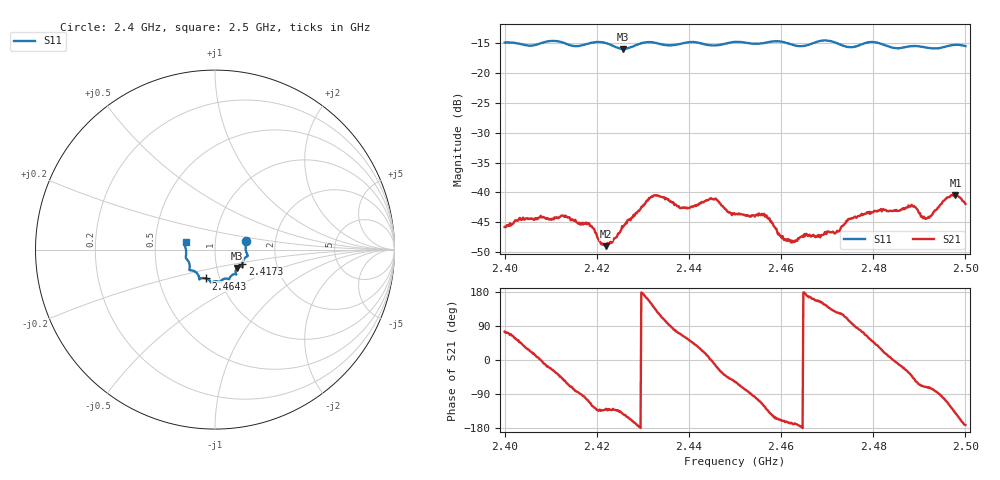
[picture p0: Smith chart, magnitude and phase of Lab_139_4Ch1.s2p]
# Hz S RI R 50
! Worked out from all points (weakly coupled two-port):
!   601 points, 2.4 GHz to 2.5 GHz, reference 50 ohm
!   highest |S21| = -40.44 dB at 2.4978 GHz (marker M1); lowest = -49.0 dB at 2.422 GHz (marker M2)
!   lowest |S11| = -15.9 dB at 2.4257 GHz (marker M3), VSWR 1.38, Z = 62.4 - j13.1 ohm
!   |S11| at or under -10 dB: start of sweep to end of sweep
!   S12 and S22 are empty: the file has one direction only
!   S11 on the Smith chart (normalised r, x): 2.4 GHz: 1.41, +0.14; 2.4173 GHz: 1.34, -0.23; 2.4643 GHz: 0.86, -0.28; 2.5 GHz: 0.72, +0.06
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2.4e9  0.1735 0.049  0.00136 0.00495  0 0  0 0
2.412667e9  0.1762 -0.039  0.00413 -0.00489  0 0  0 0
2.416667e9  0.1532 -0.0746  -8.59e-05 -0.00553  0 0  0 0
2.417333e9  0.1524 -0.0821  -0.000689 -0.00542  0 0  0 0
2.422e9  0.1516 -0.095  -0.00222 -0.00276  0 0  0 0
2.425667e9  0.1227 -0.1024  -0.00402 -0.00315  0 0  0 0
2.431333e9  0.1189 -0.138  -0.00824 0.00357  0 0  0 0
2.433333e9  0.1131 -0.1365  -0.00527 0.00782  0 0  0 0
2.4385e9  0.0818 -0.1574  0.00314 0.0068  0 0  0 0
2.445667e9  0.0499 -0.1632  0.00865 -0.00184  0 0  0 0
2.45e9  0.0293 -0.1806  0.00347 -0.00553  0 0  0 0
2.456333e9  -0.00869 -0.1792  -0.00349 -0.00562  0 0  0 0
2.460667e9  -0.0252 -0.18  -0.00376 -0.00132  0 0  0 0
2.464333e9  -0.05 -0.1607  -0.00424 -0.000324  0 0  0 0
2.466667e9  -0.0761 -0.1595  -0.00412 0.00137  0 0  0 0
2.472167e9  -0.0881 -0.1548  -0.00278 0.00388  0 0  0 0
2.478667e9  -0.1388 -0.1154  0.0031 0.00607  0 0  0 0
2.483333e9  -0.1408 -0.0901  0.00687 0.0011  0 0  0 0
2.488667e9  -0.1621 -0.0472  0.00514 -0.00564  0 0  0 0
2.491667e9  -0.1612 -0.0285  0.00188 -0.00577  0 0  0 0
2.497833e9  -0.1702 0.0306  -0.00731 -0.00608  0 0  0 0
2.5e9  -0.1636 0.0417  -0.00792 -0.00118  0 0  0 0
